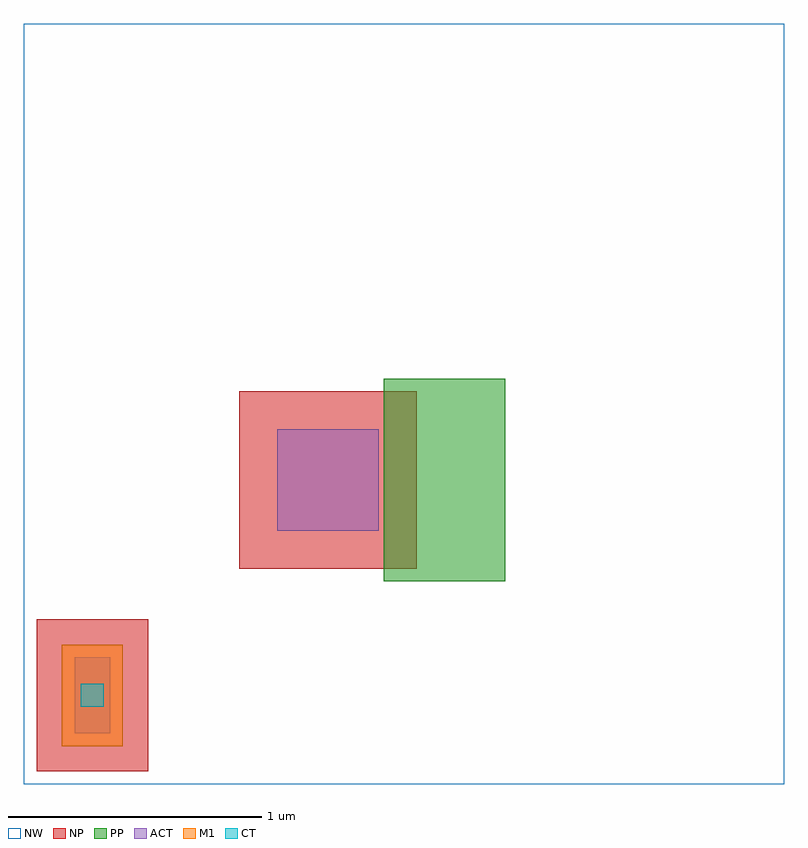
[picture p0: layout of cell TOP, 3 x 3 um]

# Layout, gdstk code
import gdstk
lib = gdstk.Library(unit=1e-6, precision=1e-09)
def R(c, l, rs):  # rectangles x0, y0, x1, y1
    for r in rs: c.add(gdstk.rectangle(r[:2], r[2:], *l))
ACT = (2, 1)
NW = (9, 1)
NP = (52, 1)
PP = (53, 1)
CT = (72, 1)
M1 = (81, 1)

top = lib.new_cell('TOP')
R(top, ACT, [(0.2,0.2,0.34,0.5), (1,1,1.4,1.4)])
R(top, NW, [(0,0,3,3)])
R(top, NP, [(0.05,0.05,0.49,0.65), (0.85,0.85,1.55,1.55)])
R(top, PP, [(1.42,0.8,1.9,1.6)])
R(top, CT, [(0.225,0.305,0.315,0.395)])
R(top, M1, [(0.15,0.15,0.39,0.55)])

lib.write_gds('TOP.gds')
